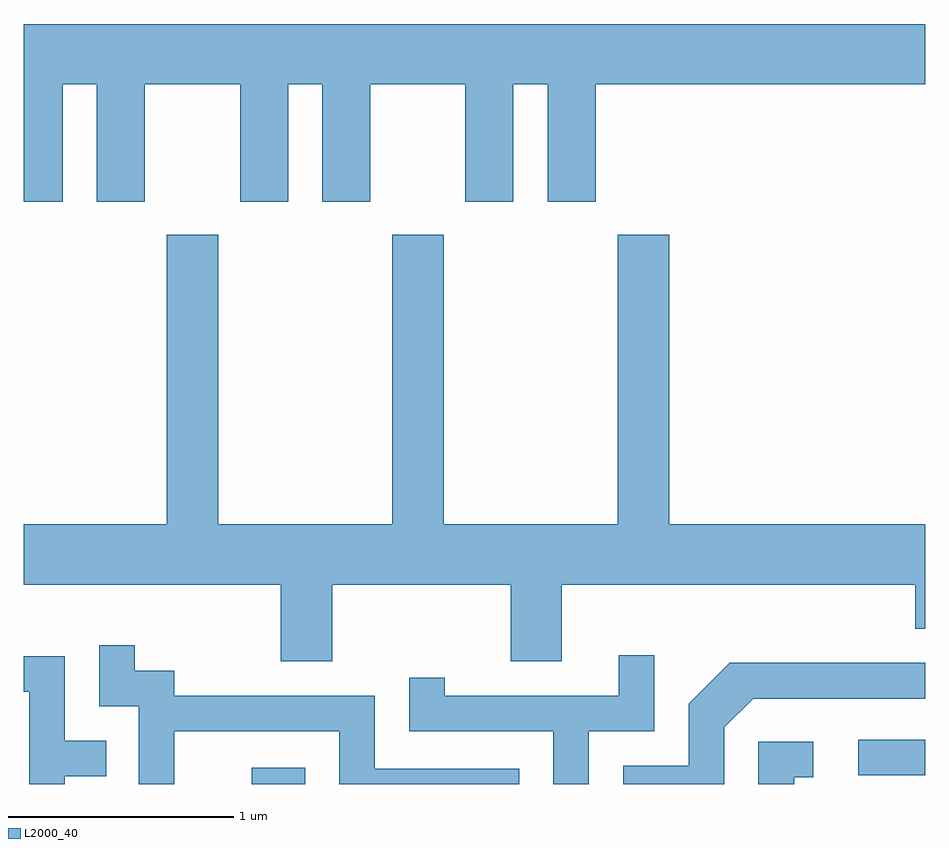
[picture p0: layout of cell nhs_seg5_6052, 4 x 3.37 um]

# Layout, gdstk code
import gdstk
lib = gdstk.Library(unit=1e-6, precision=1e-09)
def R(c, l, rs):  # rectangles x0, y0, x1, y1
    for r in rs: c.add(gdstk.rectangle(r[:2], r[2:], *l))
def P(c, l, *ps):  # polygons
    for p in ps: c.add(gdstk.Polygon(p, *l))
L2000_40 = (2000, 40)

nhs_seg5_6052 = lib.new_cell('nhs_seg5_6052')
R(nhs_seg5_6052, L2000_40, [(364.623,1518.072,364.859,1518.144), (367.313,1518.111,367.611,1518.269)])
P(nhs_seg5_6052, L2000_40, [(363.784,1521.176),(363.936,1521.176),(363.936,1520.656),(364.149,1520.656),(364.149,1521.176),(364.571,1521.176),(364.571,1520.656),(364.784,1520.656),(364.784,1521.176),(364.936,1521.176),(364.936,1520.656),(365.149,1520.656),(365.149,1521.176),(365.571,1521.176),(365.571,1520.656),(365.784,1520.656),(365.784,1521.176),(365.936,1521.176),(365.936,1520.656),(366.149,1520.656),(366.149,1521.176),(367.611,1521.176),(367.611,1521.444),(363.611,1521.444),(363.611,1520.656),(363.784,1520.656)],
  [(364.979,1518.956),(365.771,1518.956),(365.771,1518.616),(365.999,1518.616),(365.999,1518.956),(367.566,1518.956),(367.566,1518.761),(367.611,1518.761),(367.611,1519.224),(366.474,1519.224),(366.474,1520.509),(366.246,1520.509),(366.246,1519.224),(365.474,1519.224),(365.474,1520.509),(365.246,1520.509),(365.246,1519.224),(364.474,1519.224),(364.474,1520.509),(364.246,1520.509),(364.246,1519.224),(363.611,1519.224),(363.611,1518.956),(364.751,1518.956),(364.751,1518.616),(364.979,1518.616)],
  [(364.279,1518.306),(365.011,1518.306),(365.011,1518.072),(365.809,1518.072),(365.809,1518.139),(365.169,1518.139),(365.169,1518.464),(364.279,1518.464),(364.279,1518.574),(364.104,1518.574),(364.104,1518.688),(363.946,1518.688),(363.946,1518.416),(364.121,1518.416),(364.121,1518.072),(364.279,1518.072)],
  [(366.119,1518.306),(366.409,1518.306),(366.409,1518.643),(366.251,1518.643),(366.251,1518.464),(365.479,1518.464),(365.479,1518.543),(365.321,1518.543),(365.321,1518.306),(365.961,1518.306),(365.961,1518.072),(366.119,1518.072)],
  [(363.794,1518.106),(363.978,1518.106),(363.978,1518.264),(363.794,1518.264),(363.794,1518.639),(363.611,1518.639),(363.611,1518.481),(363.636,1518.481),(363.636,1518.072),(363.794,1518.072)],
  [(366.719,1518.324),(366.847,1518.451),(367.611,1518.451),(367.611,1518.609),(366.744,1518.609),(366.561,1518.427),(366.561,1518.154),(366.271,1518.154),(366.271,1518.072),(366.719,1518.072)],
  [(367.029,1518.101),(367.113,1518.101),(367.113,1518.259),(366.871,1518.259),(366.871,1518.072),(367.029,1518.072)])

lib.write_gds('nhs_seg5_6052.gds')
